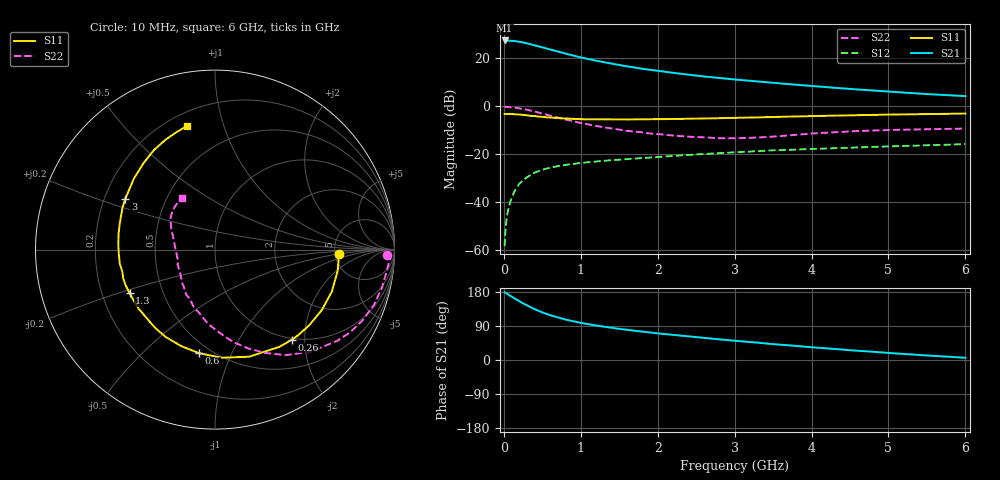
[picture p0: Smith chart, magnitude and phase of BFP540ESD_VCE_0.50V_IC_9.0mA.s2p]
! (c) 2015  Infineon Technologies AG, Munich
! Infineon Technologies  Discrete & RF Semiconductors
! BFP540ESD
! VCE = 0.50 V,  IC =  9.0 mA
! Common Emitter S-Parameters:  Nov 2015
# GHz  S  MA  R  50
!  f  S11  S21  S12  S22
! GHz  MAG  ANG  MAG  ANG  MAG  ANG  MAG  ANG
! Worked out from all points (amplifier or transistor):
!   210 points, 10 MHz to 6 GHz, reference 50 ohm
!   highest |S21| = 27.5 dB at 10 MHz (marker M1)
!   |S21| within 3 dB of that: start of sweep to 518.3 MHz
!   unconditionally stable (mu >= 1): 2.795 GHz to end of sweep
!   at 185 MHz: K = 0.12, MSG = 30.1 dB, |S12| = -33.1 dB
!   at 1.52 GHz: K = 0.72, MSG = 19.7 dB, |S12| = -22.2 dB
!   at 6 GHz: K = 1.18, MAG = 7.5 dB, |S12| = -15.8 dB
!   S11 on the Smith chart (normalised r, x): 10 MHz: 5.45, -0.48; 260 MHz: 0.98, -1.74; 600 MHz: 0.43, -0.76; 1.3 GHz: 0.32, -0.22; 3 GHz: 0.29, +0.24; 6 GHz: 0.28, +0.76
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0.01  0.6921 -1.9  23.74 178.7  0.0012 81.9  0.9566 -1.9
0.02  0.6909 -4.4  23.5 177.8  0.0024 84.1  0.9787 -2.6
0.05  0.6936 -9.9  23.64 173.7  0.0062 88.4  0.9664 -6.4
0.1  0.6918 -19.9  23.46 167.4  0.0121 81.5  0.9543 -12.9
0.14  0.6838 -27.6  23.09 162.5  0.0167 77.4  0.9402 -17.9
0.2  0.6733 -38.8  22.36 155.1  0.0239 73.2  0.9128 -25.4
0.26  0.6601 -49.4  21.39 148.3  0.0294 68.8  0.8767 -32.4
0.3  0.6499 -56.4  20.74 143.9  0.033 65.7  0.8493 -36.8
0.4  0.6267 -72.2  18.9 134.1  0.0411 59.8  0.7787 -47.0
0.5  0.6033 -86.8  17.14 125.5  0.0473 54.7  0.707 -56.3
0.6  0.5836 -98.8  15.4 118.3  0.0523 50.6  0.6397 -64.1
0.8  0.5588 -119.6  12.62 106.8  0.0598 45.0  0.5308 -78.0
1.02  0.5377 -136.5  10.36 97.4  0.066 41.1  0.4422 -90.3
1.3  0.534 -153.0  8.34 88.0  0.0725 38.3  0.3639 -103.9
1.7  0.5363 -171.4  6.447 77.0  0.081 35.4  0.2986 -122.2
2.02  0.5396 177.4  5.434 69.8  0.0884 34.1  0.2624 -133.8
2.42  0.5495 165.5  4.53 61.8  0.0965 31.9  0.2312 -148.2
3  0.5743 150.4  3.638 50.8  0.1094 29.0  0.2154 -172.9
3.1  0.5776 148.0  3.521 49.2  0.1115 28.2  0.217 -176.8
4.1  0.6296 127.8  2.582 32.2  0.1304 21.0  0.2763 152.3
5.1  0.6744 112.9  1.985 17.2  0.147 13.7  0.3227 136.2
6  0.7054 103.0  1.634 5.8  0.162 8.1  0.3427 122.8
